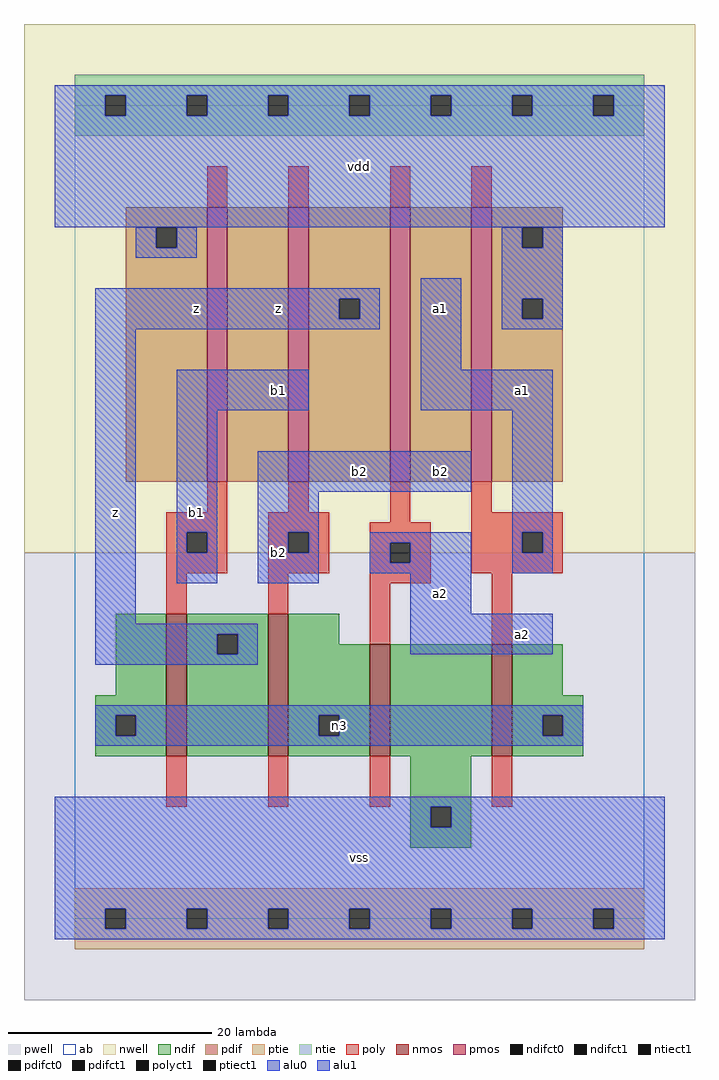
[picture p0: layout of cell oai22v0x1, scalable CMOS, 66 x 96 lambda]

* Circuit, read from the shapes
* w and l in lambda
.subckt oai22v0x1 a1 a2 b1 b2 n3 vdd vss z
M1 z b1 n3 vss nfet w=14 l=2
M2 n3 b2 z vss nfet w=14 l=2
M3 vss a2 n3 vss nfet w=11 l=2
M4 n3 a1 vss vss nfet w=11 l=2
M5 n1 b1 vdd vdd pfet w=27 l=2
M6 z b2 n1 vdd pfet w=27 l=2
M7 n2 a2 z vdd pfet w=27 l=2
M8 vdd a1 n2 vdd pfet w=27 l=2
.ends

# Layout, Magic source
magic
tech scmos
<< ab >>
rect 0 0 56 80
<< nwell >>
rect -5 36 61 88
<< pwell >>
rect -5 -8 61 36
<< poly >>
rect 13 70 15 74
rect 21 70 23 74
rect 31 70 33 74
rect 39 70 41 74
rect 13 40 15 43
rect 21 40 23 43
rect 9 38 15 40
rect 9 36 11 38
rect 13 36 15 38
rect 9 34 15 36
rect 19 38 25 40
rect 31 39 33 43
rect 39 40 41 43
rect 19 36 21 38
rect 23 36 25 38
rect 19 34 25 36
rect 29 37 35 39
rect 29 35 31 37
rect 33 35 35 37
rect 9 30 11 34
rect 19 30 21 34
rect 29 33 35 35
rect 39 38 48 40
rect 39 36 44 38
rect 46 36 48 38
rect 39 34 48 36
rect 29 27 31 33
rect 41 27 43 34
rect 9 11 11 16
rect 19 11 21 16
rect 29 11 31 16
rect 41 11 43 16
<< ndif >>
rect 4 22 9 30
rect 2 20 9 22
rect 2 18 4 20
rect 6 18 9 20
rect 2 16 9 18
rect 11 28 19 30
rect 11 26 14 28
rect 16 26 19 28
rect 11 16 19 26
rect 21 27 26 30
rect 21 20 29 27
rect 21 18 24 20
rect 26 18 29 20
rect 21 16 29 18
rect 31 16 41 27
rect 43 22 48 27
rect 43 20 50 22
rect 43 18 46 20
rect 48 18 50 20
rect 43 16 50 18
rect 33 11 39 16
rect 33 9 35 11
rect 37 9 39 11
rect 33 7 39 9
<< pdif >>
rect 5 68 13 70
rect 5 66 8 68
rect 10 66 13 68
rect 5 43 13 66
rect 15 43 21 70
rect 23 61 31 70
rect 23 59 26 61
rect 28 59 31 61
rect 23 43 31 59
rect 33 43 39 70
rect 41 68 48 70
rect 41 66 44 68
rect 46 66 48 68
rect 41 61 48 66
rect 41 59 44 61
rect 46 59 48 61
rect 41 43 48 59
<< alu1 >>
rect -2 81 58 82
rect -2 79 3 81
rect 5 79 11 81
rect 13 79 19 81
rect 21 79 27 81
rect 29 79 35 81
rect 37 79 43 81
rect 45 79 51 81
rect 53 79 58 81
rect -2 68 58 79
rect 2 61 30 62
rect 2 59 26 61
rect 28 59 30 61
rect 2 58 30 59
rect 2 29 6 58
rect 34 54 38 63
rect 10 50 23 54
rect 34 50 47 54
rect 10 38 14 50
rect 10 36 11 38
rect 13 36 14 38
rect 10 33 14 36
rect 18 42 39 46
rect 18 38 24 42
rect 43 38 47 50
rect 18 36 21 38
rect 23 36 24 38
rect 18 33 24 36
rect 29 37 39 38
rect 29 35 31 37
rect 33 35 39 37
rect 29 34 39 35
rect 43 36 44 38
rect 46 36 47 38
rect 43 34 47 36
rect 33 30 39 34
rect 2 28 18 29
rect 2 26 14 28
rect 16 26 18 28
rect 33 26 47 30
rect 2 25 18 26
rect -2 11 58 12
rect -2 9 35 11
rect 37 9 58 11
rect -2 1 58 9
rect -2 -1 3 1
rect 5 -1 11 1
rect 13 -1 19 1
rect 21 -1 27 1
rect 29 -1 35 1
rect 37 -1 43 1
rect 45 -1 51 1
rect 53 -1 58 1
rect -2 -2 58 -1
<< ptie >>
rect 0 1 56 3
rect 0 -1 3 1
rect 5 -1 11 1
rect 13 -1 19 1
rect 21 -1 27 1
rect 29 -1 35 1
rect 37 -1 43 1
rect 45 -1 51 1
rect 53 -1 56 1
rect 0 -3 56 -1
<< ntie >>
rect 0 81 56 83
rect 0 79 3 81
rect 5 79 11 81
rect 13 79 19 81
rect 21 79 27 81
rect 29 79 35 81
rect 37 79 43 81
rect 45 79 51 81
rect 53 79 56 81
rect 0 77 56 79
<< nmos >>
rect 9 16 11 30
rect 19 16 21 30
rect 29 16 31 27
rect 41 16 43 27
<< pmos >>
rect 13 43 15 70
rect 21 43 23 70
rect 31 43 33 70
rect 39 43 41 70
<< polyct1 >>
rect 11 36 13 38
rect 21 36 23 38
rect 31 35 33 37
rect 44 36 46 38
<< ndifct0 >>
rect 4 18 6 20
rect 24 18 26 20
rect 46 18 48 20
<< ndifct1 >>
rect 14 26 16 28
rect 35 9 37 11
<< ntiect1 >>
rect 3 79 5 81
rect 11 79 13 81
rect 19 79 21 81
rect 27 79 29 81
rect 35 79 37 81
rect 43 79 45 81
rect 51 79 53 81
<< ptiect1 >>
rect 3 -1 5 1
rect 11 -1 13 1
rect 19 -1 21 1
rect 27 -1 29 1
rect 35 -1 37 1
rect 43 -1 45 1
rect 51 -1 53 1
<< pdifct0 >>
rect 8 66 10 68
rect 44 66 46 68
rect 44 59 46 61
<< pdifct1 >>
rect 26 59 28 61
<< alu0 >>
rect 6 66 8 68
rect 10 66 12 68
rect 6 65 12 66
rect 42 66 44 68
rect 46 66 48 68
rect 42 61 48 66
rect 42 59 44 61
rect 46 59 48 61
rect 42 58 48 59
rect 2 20 50 21
rect 2 18 4 20
rect 6 18 24 20
rect 26 18 46 20
rect 48 18 50 20
rect 2 17 50 18
<< labels >>
rlabel alu0 26 19 26 19 6 n3
rlabel alu1 4 40 4 40 6 z
rlabel alu1 20 36 20 36 6 b2
rlabel alu1 12 40 12 40 6 b1
rlabel alu1 20 52 20 52 6 b1
rlabel alu1 20 60 20 60 6 z
rlabel alu1 12 60 12 60 6 z
rlabel alu1 28 6 28 6 6 vss
rlabel alu1 36 32 36 32 6 a2
rlabel alu1 36 44 36 44 6 b2
rlabel alu1 28 44 28 44 6 b2
rlabel alu1 36 60 36 60 6 a1
rlabel alu1 28 74 28 74 6 vdd
rlabel alu1 44 28 44 28 6 a2
rlabel alu1 44 52 44 52 6 a1
<< end >>
